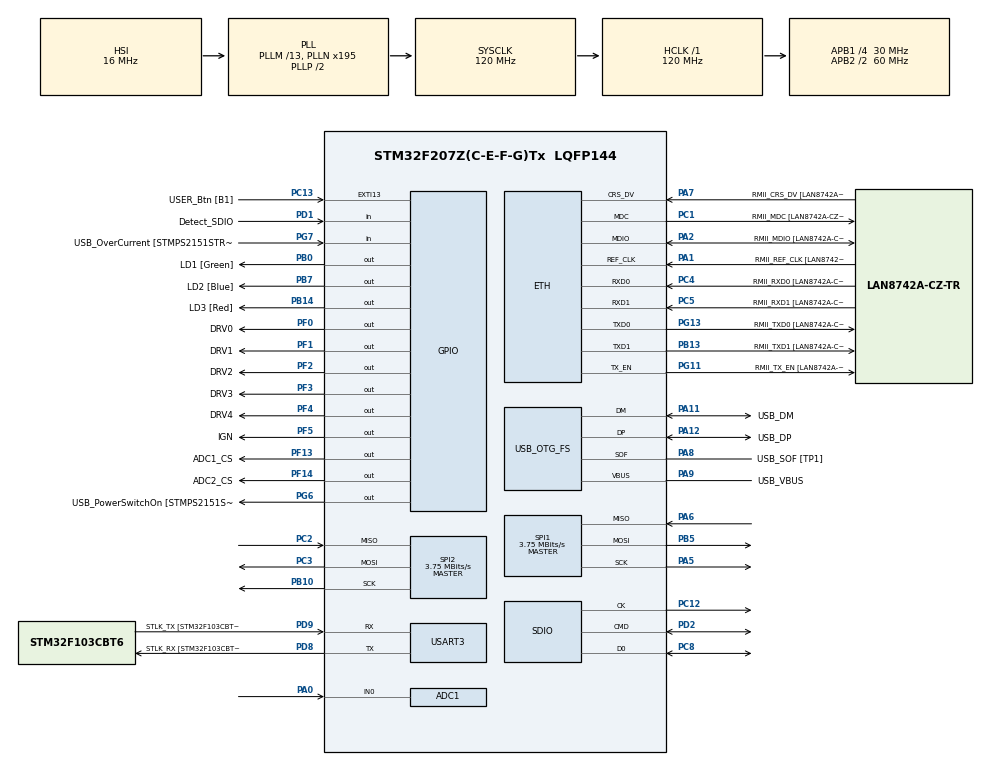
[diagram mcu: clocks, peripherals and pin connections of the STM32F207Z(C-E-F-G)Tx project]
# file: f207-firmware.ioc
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ADC1.Channel-0\#ChannelRegularConversion=ADC_CHANNEL_0
ADC1.NbrOfConversionFlag=1
ADC1.Rank-0\#ChannelRegularConversion=1
ADC1.SamplingTime-0\#ChannelRegularConversion=ADC_SAMPLETIME_3CYCLES
ADC1.master=1
ETH.MediaInterface=ETH_MEDIA_INTERFACE_RMII
FATFS._FS_REENTRANT=1
FATFS._MAX_SS=512
FATFS._USE_LFN=3
FREERTOS.Mutexes01=valsToSendMutex,Dynamic,NULL,Available
FREERTOS.Tasks01=collectionTask,48,256,StartCollectionTask,Default,NULL,Dynamic,NULL,NULL;websocketTask,32,1024,StartWebsocketTask,Default,NULL,Dynamic,NULL,NULL
FREERTOS.configMINIMAL_STACK_SIZE=256
FREERTOS.configTOTAL_HEAP_SIZE=49152
FREERTOS.configUSE_NEWLIB_REENTRANT=1
LWIP.IP_ADDRESS=192.168.000.121
LWIP.LWIP_DHCP=0
LWIP.NETMASK_ADDRESS=255.255.255.000
LWIP.RTOS_USE_NEWLIB_REENTRANT=2
LWIP.Version=v2.0.3_Cube
Mcu.Family=STM32F2
Mcu.Name=STM32F207Z(C-E-F-G)Tx
Mcu.Package=LQFP144
NVIC.ETH_IRQn=true\:5\:0\:false\:false\:true\:true\:true\:true\:true
NVIC.PriorityGroup=NVIC_PRIORITYGROUP_4
NVIC.TIM1_TRG_COM_TIM11_IRQn=true\:7\:0\:true\:false\:true\:true\:true\:true\:true
NVIC.TIM7_IRQn=true\:1\:0\:true\:false\:true\:false\:false\:true\:true
NVIC.TIM8_TRG_COM_TIM14_IRQn=true\:7\:0\:true\:false\:true\:true\:true\:true\:true
NVIC.TIM8_UP_TIM13_IRQn=true\:7\:0\:true\:false\:true\:true\:true\:true\:true
NVIC.TimeBase=TIM7_IRQn
NVIC.TimeBaseIP=TIM7
PA0-WKUP.Signal=ADCx_IN0
PA1.GPIO_Label=RMII_REF_CLK [LAN8742A-CZ-TR_REFCLK0]
PA1.Mode=RMII
PA1.Signal=ETH_REF_CLK
PA10.GPIO_Label=USB_ID
PA10.Signal=USB_OTG_FS_ID
PA11.GPIO_Label=USB_DM
PA11.Mode=Device_Only
PA11.Signal=USB_OTG_FS_DM
PA12.GPIO_Label=USB_DP
PA12.Mode=Device_Only
PA12.Signal=USB_OTG_FS_DP
PA13.GPIO_Label=TMS
PA13.Mode=Serial_Wire
PA13.Signal=SYS_JTMS-SWDIO
PA14.GPIO_Label=TCK
PA14.Mode=Serial_Wire
PA14.Signal=SYS_JTCK-SWCLK
PA2.GPIO_Label=RMII_MDIO [LAN8742A-CZ-TR_MDIO]
PA2.Mode=RMII
PA2.Signal=ETH_MDIO
PA5.Mode=Full_Duplex_Master
PA5.Signal=SPI1_SCK
PA6.Mode=Full_Duplex_Master
PA6.Signal=SPI1_MISO
PA7.GPIO_Label=RMII_CRS_DV [LAN8742A-CZ-TR_CRS_DV]
PA7.Mode=RMII
PA7.Signal=ETH_CRS_DV
PA8.GPIO_Label=USB_SOF [TP1]
PA8.Mode=Activate_SOF_FS
PA8.Signal=USB_OTG_FS_SOF
PA9.GPIO_Label=USB_VBUS
PA9.Mode=Activate_VBUS
PA9.Signal=USB_OTG_FS_VBUS
PB0.GPIO_Label=LD1 [Green]
PB0.Signal=GPIO_Output
PB10.Mode=Full_Duplex_Master
PB10.Signal=SPI2_SCK
PB13.GPIO_Label=RMII_TXD1 [LAN8742A-CZ-TR_TXD1]
PB13.Mode=RMII
PB13.Signal=ETH_TXD1
PB14.GPIO_Label=LD3 [Red]
PB14.Signal=GPIO_Output
PB3.GPIO_Label=SWO
PB3.Signal=SYS_JTDO-SWO
PB5.Mode=Full_Duplex_Master
PB5.Signal=SPI1_MOSI
PB7.GPIO_Label=LD2 [Blue]
PB7.Signal=GPIO_Output
PC1.GPIO_Label=RMII_MDC [LAN8742A-CZ-TR_MDC]
PC1.Mode=RMII
PC1.Signal=ETH_MDC
PC12.Mode=SD_1_bit
PC12.Signal=SDIO_CK
PC13.GPIO_Label=USER_Btn [B1]
PC13.Signal=GPXTI13
PC14-OSC32_IN.Mode=LSE-External-Oscillator
PC14-OSC32_IN.Signal=RCC_OSC32_IN
PC15-OSC32_OUT.Mode=LSE-External-Oscillator
PC15-OSC32_OUT.Signal=RCC_OSC32_OUT
PC2.Mode=Full_Duplex_Master
PC2.Signal=SPI2_MISO
PC3.Mode=Full_Duplex_Master
PC3.Signal=SPI2_MOSI
PC4.GPIO_Label=RMII_RXD0 [LAN8742A-CZ-TR_RXD0]
PC4.Mode=RMII
PC4.Signal=ETH_RXD0
PC5.GPIO_Label=RMII_RXD1 [LAN8742A-CZ-TR_RXD1]
PC5.Mode=RMII
PC5.Signal=ETH_RXD1
PC8.GPIO_Mode=GPIO_MODE_AF_PP
PC8.GPIO_PuPd=GPIO_PULLUP
PC8.GPIO_Speed_High_Default=GPIO_SPEED_FREQ_VERY_HIGH
PC8.Mode=SD_1_bit
PC8.Signal=SDIO_D0
PD1.GPIO_Label=Detect_SDIO
PD1.Signal=GPIO_Input
PD2.GPIO_Mode=GPIO_MODE_AF_PP
PD2.GPIO_PuPd=GPIO_PULLUP
PD2.GPIO_Speed_High_Default=GPIO_SPEED_FREQ_VERY_HIGH
PD2.Mode=SD_1_bit
PD2.Signal=SDIO_CMD
PD8.GPIO_Label=STLK_RX [STM32F103CBT6_PA2]
PD8.Mode=Asynchronous
PD8.Signal=USART3_TX
PD9.GPIO_Label=STLK_TX [STM32F103CBT6_PA3]
PD9.Mode=Asynchronous
PD9.Signal=USART3_RX
PF0.GPIO_Label=DRV0
PF0.Signal=GPIO_Output
PF1.GPIO_Label=DRV1
PF1.Signal=GPIO_Output
PF13.GPIO_Label=ADC1_CS
PF13.Signal=GPIO_Output
PF14.GPIO_Label=ADC2_CS
PF14.Signal=GPIO_Output
PF2.GPIO_Label=DRV2
PF2.Signal=GPIO_Output
PF3.GPIO_Label=DRV3
PF3.Signal=GPIO_Output
PF4.GPIO_Label=DRV4
PF4.Signal=GPIO_Output
PF5.GPIO_Label=IGN
PF5.Signal=GPIO_Output
PG11.GPIO_Label=RMII_TX_EN [LAN8742A-CZ-TR_TXEN]
PG11.Mode=RMII
PG11.Signal=ETH_TX_EN
PG13.GPIO_Label=RMII_TXD0 [LAN8742A-CZ-TR_TXD0]
PG13.Mode=RMII
PG13.Signal=ETH_TXD0
PG6.GPIO_Label=USB_PowerSwitchOn [STMPS2151STR_EN]
PG6.Signal=GPIO_Output
PG7.GPIO_Label=USB_OverCurrent [STMPS2151STR_FAULT]
PG7.Signal=GPIO_Input
PH0-OSC_IN.GPIO_Label=MCO [STM32F103CBT6_PA8]
PH0-OSC_IN.Mode=HSE-External-Clock-Source
PH0-OSC_IN.Signal=RCC_OSC_IN
PH1-OSC_OUT.Mode=HSE-External-Clock-Source
PH1-OSC_OUT.Signal=RCC_OSC_OUT
ProjectManager.HeapSize=0x200
ProjectManager.StackSize=0x400
ProjectManager.TargetToolchain=STM32CubeIDE
RCC.48MHZClocksFreq_Value=48000000
RCC.AHBFreq_Value=120000000
RCC.APB1CLKDivider=RCC_HCLK_DIV4
RCC.APB1Freq_Value=30000000
RCC.APB1TimFreq_Value=60000000
RCC.APB2CLKDivider=RCC_HCLK_DIV2
RCC.APB2Freq_Value=60000000
RCC.APB2TimFreq_Value=120000000
RCC.CortexFreq_Value=120000000
RCC.HCLKFreq_Value=120000000
RCC.HSE_VALUE=8000000
RCC.HSI_VALUE=16000000
RCC.PLLM=13
RCC.PLLMUL=RCC_PLL_MUL9
RCC.PLLN=195
RCC.PLLQ=5
RCC.PRESCALERUSB=RCC_USBCLKSOURCE_PLL_DIV1_5
RCC.SYSCLKFreq_VALUE=120000000
RCC.SYSCLKSource=RCC_SYSCLKSOURCE_PLLCLK
RCC.SYSCLKSourceVirtual=RCC_SYSCLKSOURCE_PLLCLK
RCC.USBFreq_Value=48000000
RCC.VCOOutputFreq_Value=240000000
RTC.Seconds=1
SH.ADCx_IN0.0=ADC1_IN0,IN0
SPI1.BaudRatePrescaler=SPI_BAUDRATEPRESCALER_16
SPI1.CalculateBaudRate=3.75 MBits/s
SPI1.Direction=SPI_DIRECTION_2LINES
SPI1.Mode=SPI_MODE_MASTER
SPI1.VirtualType=VM_MASTER
SPI2.BaudRatePrescaler=SPI_BAUDRATEPRESCALER_8
SPI2.CalculateBaudRate=3.75 MBits/s
SPI2.Direction=SPI_DIRECTION_2LINES
SPI2.Mode=SPI_MODE_MASTER
SPI2.VirtualType=VM_MASTER
TIM11.Prescaler=12000-1
TIM13.Period=20000-1
TIM13.Prescaler=60000-1
TIM14.Period=12-1
TIM14.Prescaler=1000-1
USART3.VirtualMode=VM_ASYNC
USB_OTG_FS.VirtualMode=Device_Only
VP_FATFS_VS_SDIO.Mode=SDIO
VP_FREERTOS_VS_CMSIS_V2.Mode=CMSIS_V2
VP_LWIP_VS_Enabled.Mode=Enabled
VP_RNG_VS_RNG.Mode=RNG_Activate
VP_RTC_VS_RTC_Activate.Mode=RTC_Enabled
VP_RTC_VS_RTC_Calendar.Mode=RTC_Calendar
VP_SYS_VS_tim7.Mode=TIM7
VP_TIM11_VS_ClockSourceINT.Mode=Enable_Timer
VP_TIM13_VS_ClockSourceINT.Mode=Enable_Timer
VP_TIM14_VS_ClockSourceINT.Mode=Enable_Timer
board=NUCLEO-F207ZG

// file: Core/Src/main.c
/* USER CODE BEGIN Header */
/**
  ******************************************************************************
  * @file           : main.c
  * @brief          : Main program body
  ******************************************************************************
  * @attention
  *
  * Copyright (c) 2026 STMicroelectronics.
  * All rights reserved.
  *
  * This software is licensed under terms that can be found in the LICENSE file
  * in the root directory of this software component.
  * If no LICENSE file comes with this software, it is provided AS-IS.
  *
  ******************************************************************************
  */
/* USER CODE END Header */
#include "main.h"
#include "cmsis_os.h"
#include "adc.h"
#include "fatfs.h"
#include "lwip.h"
#include "rng.h"
#include "rtc.h"
#include "sdio.h"
#include "spi.h"
#include "tim.h"
#include "usart.h"
#include "usb_otg.h"
#include "gpio.h"

/* USER CODE BEGIN Includes */
#include <stdio.h>
#include <stdlib.h>
#include <string.h>
#include "interface.h"
/* USER CODE END Includes */

/* USER CODE BEGIN PV */
static char TxBuffer[300];
static char config_str[4000];
FATFS FatFs; 	//Fatfs handle
char rx_buffer[52];
FIL config_file;
/* USER CODE END PV */

void SystemClock_Config(void);
void MX_FREERTOS_Init(void);

/* USER CODE BEGIN 0 */
int port = 0;
int sampling_freq_ign = 0;
int sampling_freq_standby = 0;
char *console_filename = NULL;
char cmd_password[MAX_PWD_LENGTH];
char *data_filename = NULL;
char *cmd_buffer = NULL;
char host_ip[MAX_IP_LEN];
osEventFlagsId_t command_event;
int sensor_count = MAX_SENSOR_COUNT;
int driver_count = MAX_DRIVER_COUNT;
int monitor_count = MAX_MONITOR_COUNT;
driver driver_list[MAX_DRIVER_COUNT];
driver ignition;
monitor monitor_list[MAX_MONITOR_COUNT];
sensor sensor_list[MAX_SENSOR_COUNT];

/* USER CODE END 0 */

int main(void)
{

  /* MCU Configuration--------------------------------------------------------*/

  /* Reset of all peripherals, Initializes the Flash interface and the Systick. */
  HAL_Init();

  /* Configure the system clock */
  SystemClock_Config();

  /* Initialize all configured peripherals */
  MX_GPIO_Init();
  MX_USART3_UART_Init();
  MX_USB_OTG_FS_PCD_Init();
  MX_ADC1_Init();
  MX_TIM14_Init();
  MX_SDIO_SD_Init();
  MX_FATFS_Init();
  MX_SPI1_Init();
  MX_SPI2_Init();
  MX_TIM13_Init();
  MX_RTC_Init();
  MX_RNG_Init();
  MX_TIM11_Init();
  /* USER CODE BEGIN 2 */
  /*Mount the sd card to read information from it*/
  HAL_Delay(1);
   mount_sd_interface(&FatFs);

   /*parse the configuration file to get the available
   	sensors and drivers*/
     read_file_interface(&config_file, "config.json", config_str,4000);
     parse_config_interface(config_str, driver_list, sensor_list, monitor_list, &ignition, host_ip, cmd_password, &port, &sampling_freq_ign, &sampling_freq_standby,
   		  	  	  	  	  &driver_count, &sensor_count, &monitor_count);

  /* USER CODE END 2 */

  /* Init scheduler */
  osKernelInitialize();  /* Call init function for freertos objects (in cmsis_os2.c) */
  MX_FREERTOS_Init();

  /* Start scheduler */
  osKernelStart();

  /* We should never get here as control is now taken by the scheduler */

  /* Infinite loop */
  while (1)
  {

  }
}

void SystemClock_Config(void)
{
  RCC_OscInitTypeDef RCC_OscInitStruct = {0};
  RCC_ClkInitTypeDef RCC_ClkInitStruct = {0};
  RCC_PeriphCLKInitTypeDef PeriphClkInitStruct = {0};

  /** Initializes the RCC Oscillators according to the specified parameters
  * in the RCC_OscInitTypeDef structure.
  */
  RCC_OscInitStruct.OscillatorType = RCC_OSCILLATORTYPE_HSI|RCC_OSCILLATORTYPE_LSI;
  RCC_OscInitStruct.HSIState = RCC_HSI_ON;
  RCC_OscInitStruct.HSICalibrationValue = RCC_HSICALIBRATION_DEFAULT;
  RCC_OscInitStruct.LSIState = RCC_LSI_ON;
  RCC_OscInitStruct.PLL.PLLState = RCC_PLL_ON;
  RCC_OscInitStruct.PLL.PLLSource = RCC_PLLSOURCE_HSI;
  RCC_OscInitStruct.PLL.PLLM = 13;
  RCC_OscInitStruct.PLL.PLLN = 195;
  RCC_OscInitStruct.PLL.PLLP = RCC_PLLP_DIV2;
  RCC_OscInitStruct.PLL.PLLQ = 5;
  if (HAL_RCC_OscConfig(&RCC_OscInitStruct) != HAL_OK)
  {
    Error_Handler();
  }

  /** Initializes the CPU, AHB and APB buses clocks
  */
  RCC_ClkInitStruct.ClockType = RCC_CLOCKTYPE_HCLK|RCC_CLOCKTYPE_SYSCLK
                              |RCC_CLOCKTYPE_PCLK1|RCC_CLOCKTYPE_PCLK2;
  RCC_ClkInitStruct.SYSCLKSource = RCC_SYSCLKSOURCE_PLLCLK;
  RCC_ClkInitStruct.AHBCLKDivider = RCC_SYSCLK_DIV1;
  RCC_ClkInitStruct.APB1CLKDivider = RCC_HCLK_DIV4;
  RCC_ClkInitStruct.APB2CLKDivider = RCC_HCLK_DIV2;

  if (HAL_RCC_ClockConfig(&RCC_ClkInitStruct, FLASH_LATENCY_3) != HAL_OK)
  {
    Error_Handler();
  }
  PeriphClkInitStruct.PeriphClockSelection = RCC_PERIPHCLK_RTC;
  PeriphClkInitStruct.RTCClockSelection = RCC_RTCCLKSOURCE_LSI;
  if (HAL_RCCEx_PeriphCLKConfig(&PeriphClkInitStruct) != HAL_OK)
  {
    Error_Handler();
  }
}

/* USER CODE BEGIN 4 */

void Error_Handler(void)
{
  __disable_irq();
  while (1)
  {
  }
}

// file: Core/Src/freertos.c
/* USER CODE BEGIN Header */
/**
  ******************************************************************************
  * File Name          : freertos.c
  * Description        : Code for freertos applications
  ******************************************************************************
  * @attention
  *
  * Copyright (c) 2026 STMicroelectronics.
  * All rights reserved.
  *
  * This software is licensed under terms that can be found in the LICENSE file
  * in the root directory of this software component.
  * If no LICENSE file comes with this software, it is provided AS-IS.
  *
  ******************************************************************************
  */
/* USER CODE END Header */

#include "FreeRTOS.h"
#include "task.h"
#include "main.h"
#include "cmsis_os.h"

/* USER CODE BEGIN Includes */
#include <string.h>
#include <stdio.h>
#include <stdlib.h>
#include "usart.h"
#include "interface.h"
#include "tim.h"
#include "gpio.h"
#include "cmsis_os.h"
#include "fatfs.h"
#include "sdio.h"
/* USER CODE END Includes */

/* USER CODE BEGIN PD */
#define FIRST_BUF_READY (1 << 0)
#define SECOND_BUF_READY (1 << 1)
#define SAMPLE_NOW (1 << 2)
#define SHUTDOWN (1 << 3)
#define LOGGING_STOPPED (1 << 4)
#define MSG_RECEIVED (1 << 5)
#define SENDING_BUF_READY (1 << 6)
#define SEND_NOW (1 << 7)
/* USER CODE END PD */

/* USER CODE BEGIN Variables */
float sensor_vals[2*MAX_SENSOR_COUNT];
float vals_to_send[MAX_SENSOR_COUNT];
char tx_buffer[300];
//stores the sensor values in a single string to write to the sd card
char sdcard_data[4096];
char data_log[100];
char data_header_str[300];
char cmd_str[100];
FIL data_file;
FIL log_file;
FRESULT fres;
long tim14_tick_count;
int tim13_tick_count;
volatile int stop_logging;

/* USER CODE END Variables */
/* Definitions for collectionTask */
osThreadId_t collectionTaskHandle;
const osThreadAttr_t collectionTask_attributes = {
  .name = "collectionTask",
  .stack_size = 128 * 4,
  .priority = (osPriority_t) osPriorityRealtime,
};
/* Definitions for processingTask */
osThreadId_t processingTaskHandle;
const osThreadAttr_t processingTask_attributes = {
  .name = "processingTask",
  .stack_size = 256 * 4,
  .priority = (osPriority_t) osPriorityHigh7,
};
/* Definitions for shutdownTask */
osThreadId_t shutdownTaskHandle;
const osThreadAttr_t shutdownTask_attributes = {
  .name = "shutdownTask",
  .stack_size = 128 * 4,
  .priority = (osPriority_t) osPriorityHigh,
};
/* Definitions for cmdHandlingTask */
osThreadId_t cmdHandlingTaskHandle;
const osThreadAttr_t cmdHandlingTask_attributes = {
  .name = "cmdHandlingTask",
  .stack_size = 128 * 4,
  .priority = (osPriority_t) osPriorityHigh1,
};
/* Definitions for valsToSendMutex */
osMutexId_t valsToSendMutexHandle;
const osMutexAttr_t valsToSendMutex_attributes = {
  .name = "valsToSendMutex"
};

/* USER CODE BEGIN FunctionPrototypes */
void add_datafile_header();
/* USER CODE END FunctionPrototypes */

void StartCollectionTask(void *argument);
void StartProcessingTask(void *argument);
void startShutdownTask(void *argument);
void StartCmdHandlingTask(void *argument);

void MX_FREERTOS_Init(void); /* (MISRA C 2004 rule 8.1) */

void MX_FREERTOS_Init(void) {
  /* USER CODE BEGIN Init */
	stop_logging = 0;
	tim13_tick_count = 0;
	create_file_interface(&data_file,"data.csv");
	create_file_interface(&log_file,"console.log");
  /* USER CODE END Init */
  /* Create the mutex(es) */
  /* creation of valsToSendMutex */
  valsToSendMutexHandle = osMutexNew(&valsToSendMutex_attributes);

  /* Create the thread(s) */
  /* creation of collectionTask */
  collectionTaskHandle = osThreadNew(StartCollectionTask, NULL, &collectionTask_attributes);

  /* creation of processingTask */
  processingTaskHandle = osThreadNew(StartProcessingTask, NULL, &processingTask_attributes);

  /* creation of shutdownTask */
  shutdownTaskHandle = osThreadNew(startShutdownTask, NULL, &shutdownTask_attributes);

  /* creation of cmdHandlingTask */
  cmdHandlingTaskHandle = osThreadNew(StartCmdHandlingTask, NULL, &cmdHandlingTask_attributes);

}

/* USER CODE BEGIN Header_StartCollectionTask */
/**
  * @brief  Waits for the sampling event to take data from the ADCs
  * 		Notifies the processing task when any of the double buffers
  * 		are filled
  * @param  argument: Not used
  * @retval None
  */
/* USER CODE END Header_StartCollectionTask */
void StartCollectionTask(void *argument)
{
  /* USER CODE BEGIN StartCollectionTask */
	//used to determine which of the buffers have been filled when copying to the 'vals_to_send' buffer
	 float *curr_buffer;
	 HAL_TIM_Base_Start_IT(&htim14);
	 HAL_TIM_Base_Start_IT(&htim13);
	 HAL_TIM_Base_Start_IT(&htim11);
	int sample_count = 0;
	uint32_t sending_flag;
	osStatus_t mutex_status;
  /* Infinite loop */
  for(;;)
  {
	 osThreadFlagsWait(SAMPLE_NOW, osFlagsWaitAny, osWaitForever);
	 sensor_vals[sample_count] = get_sensorval_interface(&sensor_list[sample_count%sensor_count]);
	 sample_count = (sample_count + 1) % (sensor_count*2);

	 //First Buffer has been filled
	 if (sample_count == sensor_count){
		 osThreadFlagsSet(processingTaskHandle, FIRST_BUF_READY);
		 curr_buffer = &sensor_vals[0];
	 }
	 else if (sample_count == 0){
		 osThreadFlagsSet(processingTaskHandle, SECOND_BUF_READY);
		 curr_buffer = &sensor_vals[sensor_count];
	 }
	 //check if it is time to send the data to mission control
	 sending_flag = osThreadFlagsWait(SEND_NOW, osFlagsWaitAny, 0);
	 if (sending_flag & SEND_NOW){
		 mutex_status = osMutexAcquire(valsToSendMutexHandle, 0);
		 if (mutex_status == osOK)
			 memcpy(vals_to_send, curr_buffer, sensor_count);
		 osMutexRelease(valsToSendMutexHandle);
	 }
	 osDelay(1);
  }
  /* USER CODE END StartCollectionTask */
}

void StartProcessingTask(void *argument)
{
  /* USER CODE BEGIN StartProcessingTask */
	uint32_t processing_flag;
	int sd_card_pos = 0;
	int log_count = 0;
	float *current_buffer;
	open_file_interface(&data_file, "data.csv");
	add_datafile_header();
	open_file_interface(&log_file, "console.log");
	/*We sync the file to the sd card every second*/
	int sync_count = 0;
#ifndef TEST_LOGIC
	FRESULT fres;
#endif
  /* Infinite loop */
  for(;;)
  {
	  processing_flag = osThreadFlagsWait((FIRST_BUF_READY | SECOND_BUF_READY),
			  	  	  	  	  	  	  	  osFlagsWaitAny, osWaitForever);
	  //set the current buf pointer to the first part of the data buffer
	  if (processing_flag & FIRST_BUF_READY){
		  current_buffer = &sensor_vals[0];
	  }
	  else if (processing_flag & SECOND_BUF_READY){
		  current_buffer = &sensor_vals[sensor_count];
	  }

	  if (stop_logging == 0){
		  //performs the filtering and decimation of the data
		  filter_and_decimate_interface(current_buffer, sensor_count);
		  sdcard_data[0] = '\0';
		  //writes the data to SD card
		  for (int i = 0; i < sensor_count; i++){

			  sprintf(tx_buffer, "Sensor %s value: %f\r\n", sensor_list[i].name,
																	   current_buffer[i]);
			   //HAL_UART_Transmit(&huart3, (uint8_t *)tx_buffer, strlen(tx_buffer), 200);

			  sd_card_pos += snprintf(sdcard_data + sd_card_pos, sizeof(sdcard_data)-sd_card_pos, "%.3f,",current_buffer[i]);
			  if (sd_card_pos < 0 || sd_card_pos >= sizeof(sdcard_data)){
				  sprintf(tx_buffer, "buffer full!\r\n");
				  HAL_UART_Transmit(&huart3, (uint8_t *)tx_buffer, strlen(tx_buffer), HAL_MAX_DELAY);
				  //drop the data in this cycle
				  sd_card_pos = 0;
				  break;
			  }
		  }

		  sd_card_pos += snprintf(sdcard_data + sd_card_pos, sizeof(sdcard_data)-sd_card_pos, "\r\n");
		  if (sd_card_pos < 0 || sd_card_pos >= sizeof(sdcard_data)){
				  sprintf(tx_buffer, "buffer full!\r\n");
				  HAL_UART_Transmit(&huart3, (uint8_t *)tx_buffer, strlen(tx_buffer), HAL_MAX_DELAY);
				  //drop the data in this cycle
				  sd_card_pos = 0;
			  }
		  log_count++;
		  if (log_count == 20){
			  sprintf(tx_buffer, "sd write\r\n");
			  sprintf(data_log,"sd write\r\n");
			  HAL_UART_Transmit(&huart3, (uint8_t *)tx_buffer, strlen(tx_buffer), 200);
			  log_count = 0;

#ifndef TEST_LOGIC
			  fres = append_file_interface(&data_file, sdcard_data,sd_card_pos);
			  fres = append_file_interface(&log_file, data_log, strlen(data_log));
#endif
			  sd_card_pos = 0;
			  memset(sdcard_data, 0, sizeof(sdcard_data));
		  }
		  /*TODO: include timestamps from RTC*/
		  sync_count = (sync_count + 1) % sampling_freq_ign;
		  if (sync_count == 0){
			  sprintf(tx_buffer, "synced data\r\n");
			  HAL_UART_Transmit(&huart3, (uint8_t *)tx_buffer, strlen(tx_buffer), HAL_MAX_DELAY);
		  }
#ifndef TEST_LOGIC
		  /*sync data to SD card every second*/
		  if (sync_count == 0){
			  f_sync(&data_file);
			  f_sync(&log_file);
		  }
	#endif
	  }
	  else{
		  osThreadFlagsSet(shutdownTaskHandle,LOGGING_STOPPED);
	  }
	  osDelay(1);
  }
  /* USER CODE END StartProcessingTask */
}

/* USER CODE BEGIN Header_startShutdownTask */
/**
* @brief stops logging & processing, and closes all the files when a shutdown condition is met
* @param argument: Not used
* @retval None
*/
/* USER CODE END Header_startShutdownTask */
void startShutdownTask(void *argument)
{
  /* USER CODE BEGIN startShutdownTask */
	uint32_t shutdown_flag;
  /* Infinite loop */
  for(;;)
  {
	shutdown_flag = osThreadFlagsWait(SHUTDOWN, osFlagsWaitAny, osWaitForever);
	/*Tell processing task to stop*/
	stop_logging = 1;

	/*Waits for processing to stop*/
	shutdown_flag = osThreadFlagsWait(LOGGING_STOPPED, osFlagsWaitAny, osWaitForever);

	close_file_interface(&data_file);
	close_file_interface(&log_file);
	unmount_sd_interface();
	if (collectionTaskHandle != NULL){
		osThreadTerminate(collectionTaskHandle);
	}
	if (processingTaskHandle != NULL){
		osThreadTerminate(processingTaskHandle);
	}
	sprintf(tx_buffer, "All tasks closed\r\n");
	HAL_UART_Transmit(&huart3, (uint8_t *)tx_buffer, strlen(tx_buffer), HAL_MAX_DELAY);
	osThreadExit();
    osDelay(1);
  }
  /* USER CODE END startShutdownTask */
}

void StartCmdHandlingTask(void *argument)
{
  /* USER CODE BEGIN StartCmdHandlingTask */
	uint32_t msg_received_flag;
	int ignition_flag;
	int shutdown_flag;
	int stop_ignition_flag;
	int driver_id;
	int direction;
  /* Infinite loop */
  for(;;)
  {
	msg_received_flag = osThreadFlagsWait(MSG_RECEIVED, osFlagsWaitAny, osWaitForever);
	parse_command_interface(cmd_str, &driver_id, &direction, driver_list, &ignition_flag,
			  	  	  	  	  	&shutdown_flag, &stop_ignition_flag);
	if (shutdown_flag == 1){
		osThreadFlagsSet(shutdownTaskHandle, SHUTDOWN);
	}
	else if (stop_ignition_flag == 1){
		HAL_GPIO_WritePin(ignition.GPIO_Port, ignition.GPIO_Pin, 0);
	}
	else if (ignition_flag == 1){
		ignition_sequence();
	}
    osDelay(1);
  }
  /* USER CODE END StartCmdHandlingTask */
}

/* USER CODE BEGIN Application */
void HAL_TIM_PeriodElapsedCallback(TIM_HandleTypeDef *htim)
{
  /* USER CODE BEGIN Callback 0 */

  /* USER CODE END Callback 0 */
  if (htim->Instance == TIM7)
  {
    HAL_IncTick();
  }
  /* USER CODE BEGIN Callback 1 */
  if (htim->Instance == TIM14){
	  /*sampling event has occured*/
	  osThreadFlagsSet(collectionTaskHandle, SAMPLE_NOW);
	  HAL_GPIO_TogglePin(GPIOB, LD1_Pin);
  }
  if (htim->Instance  == TIM11){
	  /*Data sending event has occured*/
	  osThreadFlagsSet(collectionTaskHandle, SEND_NOW);
	  HAL_GPIO_TogglePin(GPIOB, LD3_Pin);
  }

  if (htim->Instance == TIM13){
	  /*shutdown condition has occured*/
	  if (tim13_tick_count == 1){
		  osThreadFlagsSet(shutdownTaskHandle,SHUTDOWN);
	  }
	  else{
		  tim13_tick_count = 1;
	  }
	  HAL_GPIO_TogglePin(GPIOB, LD2_Pin);
  }

  /* USER CODE END Callback 1 */
}

void add_datafile_header(){
	int card_pos = 0;
	data_header_str[0] = '\0';
	for (int i = 0; i < sensor_count; i++){
		card_pos += snprintf(data_header_str+card_pos,sizeof(data_header_str) - card_pos,"%s,",
							 sensor_list[i].name);
		if (card_pos <= 0 || card_pos > sizeof(data_header_str)){
			 sprintf(tx_buffer, "sensor list array corrupted!\r\n");
			 HAL_UART_Transmit(&huart3, (uint8_t *)tx_buffer, strlen(tx_buffer), HAL_MAX_DELAY);
		}
	}
	card_pos += snprintf(data_header_str+card_pos, sizeof(data_header_str)-card_pos, "\r\n");
	if (card_pos <= 0 || card_pos > sizeof(data_header_str)){
			 sprintf(tx_buffer, "sensor list array corrupted!\r\n");
			 HAL_UART_Transmit(&huart3, (uint8_t *)tx_buffer, strlen(tx_buffer), HAL_MAX_DELAY);

		}
#ifndef TEST_LOGIC
	append_file_interface(&data_file, data_header_str, card_pos);
#endif
}

/* USER CODE END Application */
